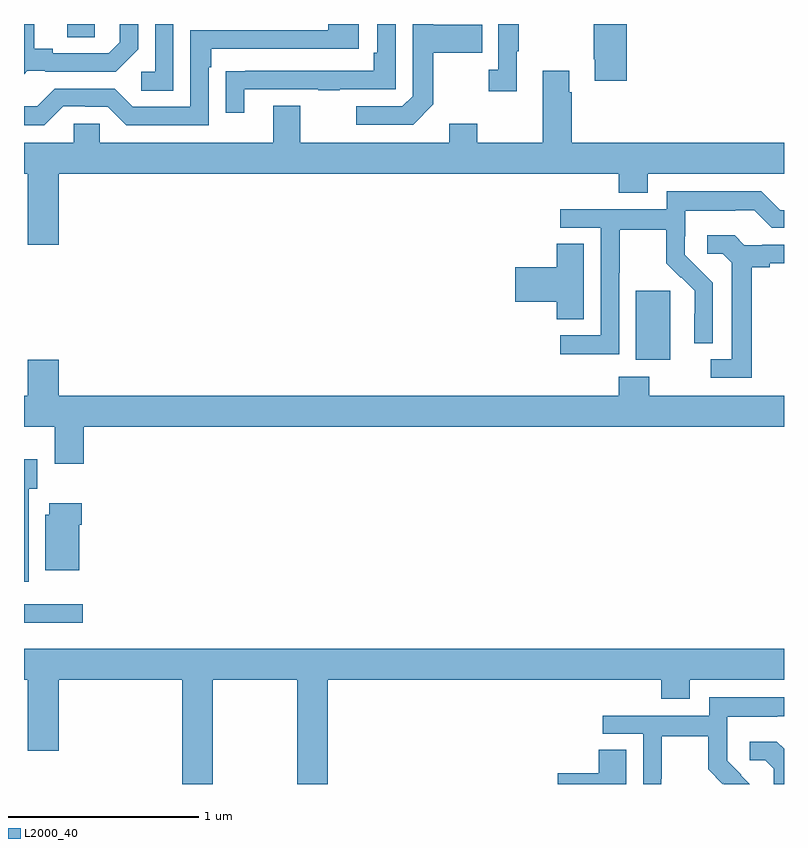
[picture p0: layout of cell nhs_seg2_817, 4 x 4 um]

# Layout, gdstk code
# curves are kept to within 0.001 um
import gdstk
lib = gdstk.Library(unit=1e-6, precision=1e-09)
def R(c, l, rs):  # rectangles x0, y0, x1, y1
    for r in rs: c.add(gdstk.rectangle(r[:2], r[2:], *l))
def P(c, l, *ps):  # polygons
    for p in ps: c.add(gdstk.Polygon(p, *l))
L2000_40 = (2000, 40)

nhs_seg2_817 = lib.new_cell('nhs_seg2_817')
R(nhs_seg2_817, L2000_40, [(153,602.648,153.31,602.745), (156.221,604.034,156.4,604.395), (153.227,605.731,153.372,605.8)])
P(nhs_seg2_817, L2000_40, [(153.018,605.553),(153.112,605.553),(153.112,605.55),(153.484,605.55),(153.6,605.666),(153.6,605.8),(153.503,605.8),(153.503,605.703),(153.446,605.646),(153.151,605.646),(153.151,605.669),(153.055,605.669),(153.055,605.8),(153,605.8),(153,605.535)],
  [(153.207,605.367),(153.323,605.367),(153.323,605.364),(153.441,605.364),(153.537,605.268),(153.972,605.268),(153.972,605.573),(153.985,605.573),(153.985,605.67),(154.762,605.67),(154.762,605.8),(154.601,605.8),(154.601,605.766),(153.876,605.766),(153.876,605.364),(153.573,605.364),(153.477,605.46),(153.162,605.46),(153.069,605.367),(153,605.367),(153,605.267),(153.107,605.267)],
  [(156.173,605.8),(155.998,605.8),(155.998,605.614),(156.005,605.614),(156.005,605.502),(156.173,605.502)],
  [(155.593,605.657),(155.605,605.657),(155.605,605.8),(155.496,605.8),(155.496,605.558),(155.445,605.558),(155.445,605.445),(155.593,605.445)],
  [(154.159,605.457),(154.549,605.457),(154.549,605.452),(154.661,605.452),(154.661,605.457),(154.956,605.457),(154.956,605.8),(154.86,605.8),(154.86,605.65),(154.84,605.65),(154.84,605.553),(154.165,605.553),(154.165,605.552),(154.063,605.552),(154.063,605.334),(154.159,605.334)],
  [(153.786,605.8),(153.69,605.8),(153.69,605.55),(153.618,605.55),(153.618,605.449),(153.786,605.449)],
  [(155.155,605.377),(155.155,605.65),(155.411,605.65),(155.411,605.797),(155.155,605.797),(155.155,605.8),(155.046,605.8),(155.046,605.421),(154.992,605.367),(154.749,605.367),(154.749,605.271),(155.049,605.271)],
  [(153.184,605.012),(156.131,605.012),(156.131,604.913),(156.283,604.913),(156.283,605.012),(157,605.012),(157,605.176),(155.882,605.176),(155.882,605.441),(155.869,605.441),(155.869,605.554),(155.729,605.554),(155.729,605.176),(155.385,605.176),(155.385,605.275),(155.237,605.275),(155.237,605.176),(154.453,605.176),(154.453,605.371),(154.313,605.371),(154.313,605.176),(153.399,605.176),(153.399,605.274),(153.261,605.274),(153.261,605.176),(153,605.176),(153,605.012),(153.02,605.012),(153.02,604.638),(153.184,604.638)],
  [(156.132,604.492),(156.135,604.492),(156.135,604.716),(156.379,604.716),(156.379,604.541),(156.456,604.464),(156.459,604.467),(156.53,604.397),(156.53,604.274),(156.528,604.274),(156.528,604.12),(156.624,604.12),(156.624,604.438),(156.478,604.586),(156.478,604.683),(156.48,604.683),(156.48,604.817),(156.743,604.817),(156.743,604.821),(156.843,604.821),(156.936,604.728),(157,604.728),(157,604.821),(156.981,604.821),(156.881,604.921),(156.384,604.921),(156.384,604.824),(155.823,604.824),(155.823,604.728),(156.036,604.728),(156.036,604.161),(155.823,604.161),(155.823,604.063),(156.132,604.063)],
  [(156.829,604.52),(156.925,604.52),(156.925,604.542),(157,604.542),(157,604.638),(156.886,604.638),(156.886,604.635),(156.792,604.635),(156.74,604.687),(156.597,604.687),(156.597,604.59),(156.678,604.59),(156.725,604.543),(156.725,604.035),(156.615,604.035),(156.615,603.939),(156.829,603.939)],
  [(155.947,604.643),(155.804,604.643),(155.804,604.52),(155.586,604.52),(155.586,604.337),(155.804,604.337),(155.804,604.246),(155.947,604.246)],
  [(153.184,604.033),(153.02,604.033),(153.02,603.844),(153,603.844),(153,603.68),(153.161,603.68),(153.161,603.486),(153.314,603.486),(153.314,603.68),(157,603.68),(157,603.844),(156.291,603.844),(156.291,603.943),(156.131,603.943),(156.131,603.844),(153.184,603.844)],
  [(153.025,603.354),(153.07,603.354),(153.07,603.508),(153,603.508),(153,602.865),(153.025,602.865)],
  [(153.292,603.164),(153.305,603.164),(153.305,603.277),(153.134,603.277),(153.134,603.216),(153.113,603.216),(153.113,602.924),(153.292,602.924)],
  [(153.993,602.348),(154.438,602.348),(154.438,601.8),(154.598,601.8),(154.598,602.348),(156.353,602.348),(156.353,602.249),(156.505,602.249),(156.505,602.348),(157,602.348),(157,602.512),(153,602.512),(153,602.348),(153.02,602.348),(153.02,601.974),(153.184,601.974),(153.184,602.348),(153.833,602.348),(153.833,601.8),(153.993,601.8)],
  [(156.354,601.828),(156.357,601.828),(156.357,602.052),(156.601,602.052),(156.601,601.877),(156.678,601.8),(156.681,601.803),(156.684,601.8),(156.82,601.8),(156.7,601.922),(156.7,602.019),(156.702,602.019),(156.702,602.153),(156.965,602.153),(156.965,602.157),(157,602.157),(157,602.257),(156.606,602.257),(156.606,602.16),(156.045,602.16),(156.045,602.064),(156.258,602.064),(156.258,601.8),(156.354,601.8)],
  [(157,601.985),(156.962,602.023),(156.819,602.023),(156.819,601.926),(156.9,601.926),(156.947,601.879),(156.947,601.8),(157,601.8)],
  [(156.169,601.979),(156.026,601.979),(156.026,601.856),(155.808,601.856),(155.808,601.8),(156.169,601.8)])

lib.write_gds('nhs_seg2_817.gds')
